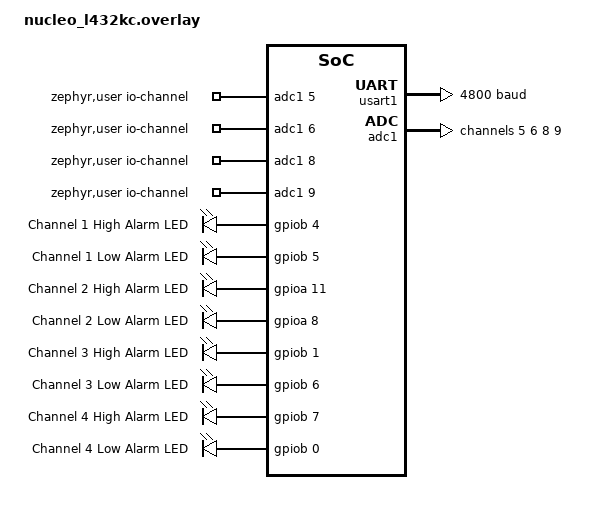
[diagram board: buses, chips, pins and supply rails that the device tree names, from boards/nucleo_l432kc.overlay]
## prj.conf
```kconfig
CONFIG_CBPRINTF_FP_SUPPORT=y
CONFIG_NEWLIB_LIBC=y
CONFIG_NEWLIB_LIBC_FLOAT_PRINTF=y

CONFIG_GPIO=y

CONFIG_SERIAL=y
CONFIG_UART_INTERRUPT_DRIVEN=y

CONFIG_ADC=y
CONFIG_ADC_STM32=y
CONFIG_PRINTK=y
```

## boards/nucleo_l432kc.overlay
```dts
/ {
	zephyr,user {
		/* adjust channel number according to pinmux in board.dts */
		io-channels = <&adc1 5>, <&adc1 6>, <&adc1 8>, <&adc1 9>;
	};

	leds: leds {
		ch1_high_led: ch1_high_led {
			gpios = <&gpiob 4 GPIO_ACTIVE_HIGH>;
			label = "Channel 1 High Alarm LED";
		};
		ch1_low_led: ch1_low_led {
			gpios = <&gpiob 5 GPIO_ACTIVE_HIGH>;
			label = "Channel 1 Low Alarm LED";
		};
		ch2_high_led: ch2_high_led {
			gpios = <&gpioa 11 GPIO_ACTIVE_HIGH>;
			label = "Channel 2 High Alarm LED";
		};
		ch2_low_led: ch2_low_led {
			gpios = <&gpioa 8 GPIO_ACTIVE_HIGH>;
			label = "Channel 2 Low Alarm LED";
		};
		ch3_high_led: ch3_high_led {
			gpios = <&gpiob 1 GPIO_ACTIVE_HIGH>;
			label = "Channel 3 High Alarm LED";
		};
		ch3_low_led: ch3_low_led {
			gpios = <&gpiob 6 GPIO_ACTIVE_HIGH>;
			label = "Channel 3 Low Alarm LED";
		};
		ch4_high_led: ch4_high_led {
			gpios = <&gpiob 7 GPIO_ACTIVE_HIGH>;
			label = "Channel 4 High Alarm LED";
		};
		ch4_low_led: ch4_low_led {
			gpios = <&gpiob 0 GPIO_ACTIVE_HIGH>;
			label = "Channel 4 Low Alarm LED";
		};
	};
};

&usart1 {
	status = "okay";
	current-speed = <4800>;
};

&adc1 {
    status = "okay";
	#address-cells = <1>;
	#size-cells = <0>;
	st,adc-clock-source = "SYNC";
	st,adc-prescaler = <4>;

	channel@5 {
		reg = <0x05>;
		zephyr,gain = "ADC_GAIN_1";
		zephyr,reference = "ADC_REF_INTERNAL";
		zephyr,acquisition-time = <ADC_ACQ_TIME_DEFAULT>;
		zephyr,resolution = <12>;
	};
    channel@6 {
		reg = <0x06>;
		zephyr,gain = "ADC_GAIN_1";
		zephyr,reference = "ADC_REF_INTERNAL";
		zephyr,acquisition-time = <ADC_ACQ_TIME_DEFAULT>;
		zephyr,resolution = <12>;
	};
    channel@8 {
		reg = <0x08>;
		zephyr,gain = "ADC_GAIN_1";
		zephyr,reference = "ADC_REF_INTERNAL";
		zephyr,acquisition-time = <ADC_ACQ_TIME_DEFAULT>;
		zephyr,resolution = <12>;
	};
    channel@9 {
		reg = <0x09>;
		zephyr,gain = "ADC_GAIN_1";
		zephyr,reference = "ADC_REF_INTERNAL";
		zephyr,acquisition-time = <ADC_ACQ_TIME_DEFAULT>;
		zephyr,resolution = <12>;
	};
};
```

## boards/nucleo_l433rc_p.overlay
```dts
/ {
	zephyr,user {
		/* adjust channel number according to pinmux in board.dts */
		io-channels = <&adc1 5>, <&adc1 6>, <&adc1 8>, <&adc1 9>;
	};

	leds: leds {
		ch1_high_led: ch1_high_led {
			gpios = <&gpiob 4 GPIO_ACTIVE_HIGH>;
			label = "Channel 1 High Alarm LED";
		};
		ch1_low_led: ch1_low_led {
			gpios = <&gpiob 5 GPIO_ACTIVE_HIGH>;
			label = "Channel 1 Low Alarm LED";
		};
		ch2_high_led: ch2_high_led {
			gpios = <&gpioa 11 GPIO_ACTIVE_HIGH>;
			label = "Channel 2 High Alarm LED";
		};
		ch2_low_led: ch2_low_led {
			gpios = <&gpioa 8 GPIO_ACTIVE_HIGH>;
			label = "Channel 2 Low Alarm LED";
		};
		ch3_high_led: ch3_high_led {
			gpios = <&gpiob 1 GPIO_ACTIVE_HIGH>;
			label = "Channel 3 High Alarm LED";
		};
		ch3_low_led: ch3_low_led {
			gpios = <&gpiob 6 GPIO_ACTIVE_HIGH>;
			label = "Channel 3 Low Alarm LED";
		};
		ch4_high_led: ch4_high_led {
			gpios = <&gpiob 7 GPIO_ACTIVE_HIGH>;
			label = "Channel 4 High Alarm LED";
		};
		ch4_low_led: ch4_low_led {
			gpios = <&gpiob 0 GPIO_ACTIVE_HIGH>;
			label = "Channel 4 Low Alarm LED";
		};
	};
};

&lpuart1 {
	status = "okay";
	current-speed = <4800>;
	tx-invert;
};

&adc1 {
    status = "okay";
	#address-cells = <1>;
	#size-cells = <0>;
	st,adc-clock-source = "SYNC";
	st,adc-prescaler = <4>;

	channel@5 {
		reg = <0x05>;
		zephyr,gain = "ADC_GAIN_1";
		zephyr,reference = "ADC_REF_INTERNAL";
		zephyr,acquisition-time = <ADC_ACQ_TIME_DEFAULT>;
		zephyr,resolution = <12>;
	};
    channel@6 {
		reg = <0x06>;
		zephyr,gain = "ADC_GAIN_1";
		zephyr,reference = "ADC_REF_INTERNAL";
		zephyr,acquisition-time = <ADC_ACQ_TIME_DEFAULT>;
		zephyr,resolution = <12>;
	};
    channel@8 {
		reg = <0x08>;
		zephyr,gain = "ADC_GAIN_1";
		zephyr,reference = "ADC_REF_INTERNAL";
		zephyr,acquisition-time = <ADC_ACQ_TIME_DEFAULT>;
		zephyr,resolution = <12>;
	};
    channel@9 {
		reg = <0x09>;
		zephyr,gain = "ADC_GAIN_1";
		zephyr,reference = "ADC_REF_INTERNAL";
		zephyr,acquisition-time = <ADC_ACQ_TIME_DEFAULT>;
		zephyr,resolution = <12>;
	};
};
```

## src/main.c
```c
#include <zephyr/kernel.h>
#include <zephyr/device.h>
#include <zephyr/devicetree.h>
#include <stdio.h>
#include <stdlib.h>
#include <string.h>
#include <zephyr/drivers/uart.h>

#include <inttypes.h>
#include <stddef.h>
#include <stdint.h>
#include <zephyr/drivers/adc.h>
#include <zephyr/sys/printk.h>
#include <zephyr/sys/util.h>
#include <zephyr/drivers/sensor.h>

#include <zephyr/drivers/gpio.h>

#include <math.h>

static uint8_t sensor_unit = 0;
static uint8_t control_unit = 0;

static const struct gpio_dt_spec ch1_h = GPIO_DT_SPEC_GET(DT_NODELABEL(ch1_high_led), gpios);
static const struct gpio_dt_spec ch1_l = GPIO_DT_SPEC_GET(DT_NODELABEL(ch1_low_led), gpios);
static const struct gpio_dt_spec ch2_h = GPIO_DT_SPEC_GET(DT_NODELABEL(ch2_high_led), gpios);
static const struct gpio_dt_spec ch2_l = GPIO_DT_SPEC_GET(DT_NODELABEL(ch2_low_led), gpios);
static const struct gpio_dt_spec ch3_h = GPIO_DT_SPEC_GET(DT_NODELABEL(ch3_high_led), gpios);
static const struct gpio_dt_spec ch3_l = GPIO_DT_SPEC_GET(DT_NODELABEL(ch3_low_led), gpios);
static const struct gpio_dt_spec ch4_h = GPIO_DT_SPEC_GET(DT_NODELABEL(ch4_high_led), gpios);
static const struct gpio_dt_spec ch4_l = GPIO_DT_SPEC_GET(DT_NODELABEL(ch4_low_led), gpios);

static const struct gpio_dt_spec* alarm_pointers[8] = {&ch1_h, &ch2_h, &ch3_h, &ch4_h, &ch1_l, &ch2_l, &ch3_l, &ch4_l};

void alarm_led_init() {
	for (uint8_t i = 0; i < 8; i++) {
		gpio_pin_configure_dt(alarm_pointers[i], GPIO_OUTPUT_INACTIVE);
	 }
}

void alarm_set(int index) {
	gpio_pin_set_dt(alarm_pointers[index], 1);
}

void alarm_clear(int index) {
	gpio_pin_set_dt(alarm_pointers[index], 0);
}

#define CH1				0x77
#define CH2				0xFD
#define CH3				0x99
#define CH4				0xAA
#define CH5				0xBB
#define CH6				0xFE
#define CH7				0xDD
#define CH8				0xEE
#define STOP_BYTE		0x41

static uint16_t alarm_bitmask = 0;
static uint8_t ranges = 0;

static const uint8_t channel_headers[8] = {CH1, CH2, CH3, CH4, CH5, CH6, CH7, CH8};

static uint8_t myTurn = 1;
static char uart_char = 0;

static int state = 0;

static uint8_t res_temp = 0;

static uint8_t float_index = 0;
static uint8_t float_part[4] = {0};

static float tempF = 0;
static char type = 100;

static uint32_t helpme = 0;

static float voltage[4] = {0};
static float test[4] = {69.693, 81.420, 57.072, 1.111};

static const struct device *const shell_dev = DEVICE_DT_GET(DT_CHOSEN(zephyr_shell_uart));

#ifdef CONFIG_BOARD_NUCLEO_L433RC_P
static const struct device *const uart_dev = DEVICE_DT_GET(DT_NODELABEL(lpuart1));
#endif

#ifdef CONFIG_BOARD_NUCLEO_L432KC
static const struct device *const uart_dev = DEVICE_DT_GET(DT_NODELABEL(usart1));
#endif

#if !DT_NODE_EXISTS(DT_PATH(zephyr_user)) || \
	!DT_NODE_HAS_PROP(DT_PATH(zephyr_user), io_channels)
#error "No suitable devicetree overlay specified"
#endif

#define DT_SPEC_AND_COMMA(node_id, prop, idx) \
	ADC_DT_SPEC_GET_BY_IDX(node_id, idx),

/* Data of ADC io-channels specified in devicetree. */
static const struct adc_dt_spec adc_channels[] = {
	DT_FOREACH_PROP_ELEM(DT_PATH(zephyr_user), io_channels,
			     DT_SPEC_AND_COMMA)
};

#define FLOAT_TO_UINT32(f, i) {	\
	float tempFloat = f;	\
	i = *(uint32_t*)&tempFloat;	\
}

#define UINT32_TO_FLOAT(i, f) {	\
	uint32_t tempInt = i;	\
	f = *(float*)&tempInt;	\
}

void separate_u32(uint32_t x, uint8_t* buf) {
	buf[0] = (uint8_t)((x >> 24) & 0x000000FF);
	buf[1] = (uint8_t)((x >> 16) & 0x000000FF);
	buf[2] = (uint8_t)((x >> 8) & 0x000000FF);
	buf[3] = (uint8_t)(x & 0x000000FF);
}

uint32_t join_u32(uint8_t* fArray) {
	return (((uint32_t)fArray[0] << 24) |
			((uint32_t)fArray[1] << 16) |
			((uint32_t)fArray[2] << 8) 	|
			((uint32_t)fArray[3]) );
}

//	Thermistor conversion

float steinhart_equation(float r) {
	const float A = 3.354016E-3;
	const float B = 2.569850E-4;
	const float C = 2.620131E-6;
    const float D = 6.383091E-8;
	const float R0 = 10000.0;

	float tempK = (1 / (A + (B * log(r/R0)) + (C * pow(log(r/R0), 2)) + (D * pow(log(r/R0), 3))));
    float tempC = tempK - 273.15;
    return -tempC;
}

/*
	FOR control_unit UNIT!!!!
 */
 uint8_t check_header_control(uint8_t header) {
	switch (header) {
		case CH1:
			return 0;
		case CH2:
			return 1;
		case CH3:
			return 2;
		case CH4:
			return 3;
		case CH5:
			return 4;
		case CH6:
			return 5;
		case CH7:
			return 6;
		case CH8:
			return 7;
		default:
			return 200;
	}
 }

// UART CALLBACK FUNCTION
void uart_callback(const struct device *dev, void *user_data) {
	//printk("ISR\r\n");
	ARG_UNUSED(user_data);

	/* Verify uart_irq_update() */
	if (!uart_irq_update(dev)) {
		return;
	}

	/* Verify uart_irq_rx_ready() */
	if (uart_irq_rx_ready(dev)) {
		// write received data into uart_char
		uart_fifo_read(dev, &uart_char, 1);
		printk("Received: %x\r\n", uart_char);

		if (uart_char == STOP_BYTE) {
			myTurn = 1;
			//printk("Stop byte received: myTurn is %d\r\n", myTurn);
			float_index = 0;
			if (sensor_unit) {
				for (int i = 0; i < 4; i++) {
					float_part[i] = 0;
				}
			}
			return;
		}
		if (myTurn == 1) {
			float_index = 0;
			return;
		}
		if (control_unit) {
			if ((type == 100) || (type == 200)) {
				type = check_header_control(uart_char);
				float_index = 0;
				return;
			} else {
				float_part[float_index] = uart_char;
				//printk("Float part %d: %x\r\n", float_index, uart_char);
				if (float_index >= 3) {
					float_index = 0;
					UINT32_TO_FLOAT(join_u32(float_part), tempF);
					if (res_temp) {
						printk("Channel %d: %.1fC\r\n", (type + 1), steinhart_equation(tempF * 100000));
					} else {
						printk("Channel %d: %.3fV\r\n", (type + 1), tempF);
					}
					type = 100;
					//k_msleep(10000000000000);
				}
				float_index++;
			}
		}
		if (sensor_unit) {
			if ((type == 100) || (type == 200)) {
				type = check_header_control(uart_char);
				return;
			} else {
				if (uart_char & 0b00000001) {
					// high triggered
					alarm_bitmask |= (0b0000000000000001 << (type + 8));
					printk("HIGH Triggered: %d\r\n", type);
					alarm_set(type);
				} else {
					// high not triggered
					alarm_bitmask &= ~(0b0000000000000001 << (type + 8));
					alarm_clear(type);
				}
				if (uart_char & 0b00000010) {
					// low triggered
					alarm_bitmask |= (0b0000000000000001 << type);
					printk("LOW Triggered: %d\r\n", type);
					alarm_set(type + 4);
				} else {
					//low not triggered
					alarm_bitmask &= ~(0b0000000000000001 << type);
					alarm_clear(type + 4);
				}
				if ((type <= 3)) {
					if (uart_char & 0b00000100) {
						// range setting 10V
						ranges |= (0b00000001 << type);
					} else {
						// range setting 1V
						ranges &= ~(0b00000001 << type);
					}
				}
				printk("Alarm bits: %x\r\n", alarm_bitmask);
				printk("Range bits: %x\r\n", ranges);
				type = 100;
			}
		}
	}
}

void print_uart(char* buf) {
	int msg_len = strlen(buf);
	for (int i = 0; i < msg_len; i++) {
		uart_poll_out(uart_dev, buf[i]);
	}
}

int main() {
	#ifdef CONFIG_BOARD_NUCLEO_L432KC
	control_unit = 1;
	#endif

	#ifdef CONFIG_BOARD_NUCLEO_L433RC_P
	control_unit = 1;
	#endif

	// THERMISTOR YES/NO
	res_temp = 0;

	uint32_t tempV = 0;

	uint8_t separated[4] = {0};
	int64_t prevTick = k_uptime_get();
	/* Verify uart_irq_callback_set() */
	//uart_irq_rx_enable(uart_dev);

	uart_irq_callback_set(uart_dev, uart_callback);

	if (control_unit) {
		myTurn = 0;
		/* Enable Tx/Rx interrupt before using fifo */
		/* Verify uart_irq_rx_enable() */
		uart_irq_rx_enable(uart_dev);
	}

	int err;
	uint32_t count = 0;
	uint16_t buf;
	struct adc_sequence sequence = {
		.buffer = &buf,
		/* buffer size in bytes, not number of samples */
		.buffer_size = sizeof(buf),
	};

	/* Configure channels individually prior to sampling. */
	for (size_t i = 0U; i < ARRAY_SIZE(adc_channels); i++) {
		if (!adc_is_ready_dt(&adc_channels[i])) {
			printk("ADC controller device %s not ready\n", adc_channels[i].dev->name);
			return 0;
		}
		err = adc_channel_setup_dt(&adc_channels[i]);
		if (err < 0) {
			printk("Could not setup channel #%d (%d)\n", i, err);
			return 0;
		}
	}

	alarm_led_init();

	while (1) {
		switch(state) {
			case 0:
				if (sensor_unit) {
					for (size_t i = 0U; i < ARRAY_SIZE(adc_channels); i++) {
						int32_t val_mv;
			
						(void)adc_sequence_init_dt(&adc_channels[i], &sequence);
			
						err = adc_read_dt(&adc_channels[i], &sequence);
						if (err < 0) {
							printk("Could not read (%d)\n", err);
							continue;
						}
			
						/*
							* If using differential mode, the 16 bit value
							* in the ADC sample buffer should be a signed 2's
							* complement value.
							*/
						if (adc_channels[i].channel_cfg.differential) {
							val_mv = (int32_t)((int16_t)buf);
						} else {
							val_mv = (int32_t)buf;
						}
						//printk("%"PRId32, val_mv);
						err = adc_raw_to_millivolts_dt(&adc_channels[i],
											&val_mv);
						/* conversion to mV may not be supported, skip if not */
						if (err < 0) {
							printk(" (value in mV not available)\n");
						} else {
							voltage[i] = (val_mv / 1000.0f);
						}
					}
				}
				state++;
				break;
			case 1:
				if (myTurn == 1) {
					// disable uart rx
					uart_irq_rx_disable(uart_dev);
					k_msleep(3);
					if (control_unit) {

/* 						uart_poll_out(uart_dev, CH2);
						uart_poll_out(uart_dev, 0b00000111); */

						// transmit stop byte through uart
						uart_poll_out(uart_dev, STOP_BYTE);
						printk("Stop byte sent from control unit\r\n");
					} else {
						for (int i = 0; i < 4; i++) {
							// debug send data
							//printk("Sending data...(%d)\r\n", i);
	
							// send header char
							//printk("Header: %x\r\n", (channel_headers[i]));
							uart_poll_out(uart_dev, channel_headers[i]);
	
							// separate and send buffer
							FLOAT_TO_UINT32(voltage[i], helpme);
							separate_u32(helpme, separated);

							//printk("Part 1: %x\r\n", separated[0]);
							//printk("Part 2: %x\r\n", separated[1]);
							//printk("Part 3: %x\r\n", separated[2]);
							//printk("Part 4: %x\r\n", separated[3]);
							print_uart(separated);
						}
						uart_poll_out(uart_dev, STOP_BYTE);
						printk("Stop byte sent from sensor unit\r\n");
					}
					k_msleep(3);
					uart_irq_rx_enable(uart_dev);
					myTurn = 0;
					prevTick = k_uptime_get();
				}
				state++;
				break;
			case 2:
				if (control_unit) {
					// check if waiting for data AND has been longer than 1 second
					if (myTurn == 0 && (k_uptime_get() - prevTick > 1000)) {
						//printk("FORCED TIMEOUT! Sending stop byte.\n");
						myTurn = 1; // reclaim turn after timeout
						prevTick = k_uptime_get(); // reset timeout reference
					}
				}
				/*
								if (sensor_unit) {
					for (int i = 0; i < 4; i++) {
						test[i] = test[i] + 0.001f;
					}
				}	
				*/
		
				state = 0;
				break;
			case 3: 
				break;
		}
		k_msleep(3);
	}
	return 0;
}
```
